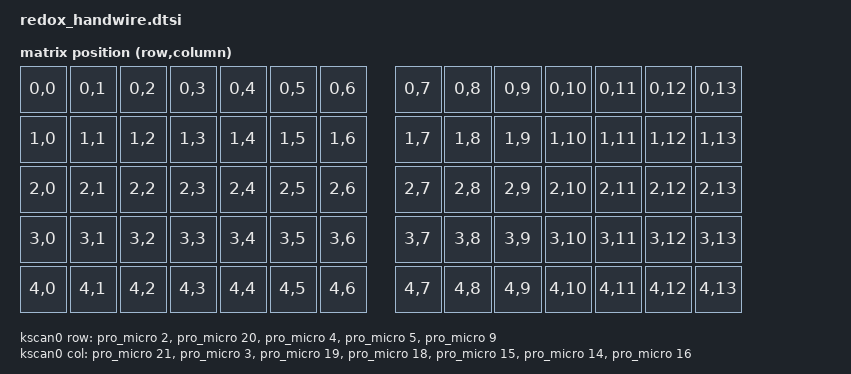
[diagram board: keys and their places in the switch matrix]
#include <dt-bindings/zmk/matrix_transform.h>
#include <physical_layouts.dtsi>

/ {
    chosen {
        zmk,kscan = &kscan0;
        zmk,physical-layout = &default_layout;
    };

    /*
     * 5 rows x 7 columns per half.
     * The right half's columns are auto-offset by 7 (the central's column
     * count), so the transform is 14 columns wide: left = cols 0-6,
     * right = cols 7-13. Every position is a real key (35 per half).
     */
    default_transform: keymap_transform_0 {
        compatible = "zmk,matrix-transform";
        columns = <14>;
        rows = <5>;
        map = <
RC(0,0) RC(0,1) RC(0,2) RC(0,3) RC(0,4) RC(0,5) RC(0,6)   RC(0,7) RC(0,8) RC(0,9) RC(0,10) RC(0,11) RC(0,12) RC(0,13)
RC(1,0) RC(1,1) RC(1,2) RC(1,3) RC(1,4) RC(1,5) RC(1,6)   RC(1,7) RC(1,8) RC(1,9) RC(1,10) RC(1,11) RC(1,12) RC(1,13)
RC(2,0) RC(2,1) RC(2,2) RC(2,3) RC(2,4) RC(2,5) RC(2,6)   RC(2,7) RC(2,8) RC(2,9) RC(2,10) RC(2,11) RC(2,12) RC(2,13)
RC(3,0) RC(3,1) RC(3,2) RC(3,3) RC(3,4) RC(3,5) RC(3,6)   RC(3,7) RC(3,8) RC(3,9) RC(3,10) RC(3,11) RC(3,12) RC(3,13)
RC(4,0) RC(4,1) RC(4,2) RC(4,3) RC(4,4) RC(4,5) RC(4,6)   RC(4,7) RC(4,8) RC(4,9) RC(4,10) RC(4,11) RC(4,12) RC(4,13)
        >;
    };

    /*
     * ZMK Studio requires a zmk,physical-layout (not a bare chosen
     * zmk,matrix-transform) so its UI can render actual key positions.
     * This is a flat, unstaggered approximation of the real handwired
     * layout purely for Studio's visual grid - it doesn't need to be
     * geometrically accurate to be functional. Order matches the
     * matrix-transform map / keymap bindings order (row-major, 14 per
     * row: left cols 0-6, then right cols 7-13, with a half-unit gap
     * between the halves).
     */
    default_layout: default_layout {
        compatible = "zmk,physical-layout";
        display-name = "Default Layout";
        transform = <&default_transform>;
        kscan = <&kscan0>;
        keys
            = <&key_physical_attrs 100 100 0 0 0 0 0>,    <&key_physical_attrs 100 100 100 0 0 0 0>,    <&key_physical_attrs 100 100 200 0 0 0 0>,    <&key_physical_attrs 100 100 300 0 0 0 0>,    <&key_physical_attrs 100 100 400 0 0 0 0>,    <&key_physical_attrs 100 100 500 0 0 0 0>,    <&key_physical_attrs 100 100 600 0 0 0 0>,    <&key_physical_attrs 100 100 750 0 0 0 0>,    <&key_physical_attrs 100 100 850 0 0 0 0>,    <&key_physical_attrs 100 100 950 0 0 0 0>,    <&key_physical_attrs 100 100 1050 0 0 0 0>,    <&key_physical_attrs 100 100 1150 0 0 0 0>,    <&key_physical_attrs 100 100 1250 0 0 0 0>,    <&key_physical_attrs 100 100 1350 0 0 0 0>
            , <&key_physical_attrs 100 100 0 100 0 0 0>,  <&key_physical_attrs 100 100 100 100 0 0 0>,  <&key_physical_attrs 100 100 200 100 0 0 0>,  <&key_physical_attrs 100 100 300 100 0 0 0>,  <&key_physical_attrs 100 100 400 100 0 0 0>,  <&key_physical_attrs 100 100 500 100 0 0 0>,  <&key_physical_attrs 100 100 600 100 0 0 0>,  <&key_physical_attrs 100 100 750 100 0 0 0>,  <&key_physical_attrs 100 100 850 100 0 0 0>,  <&key_physical_attrs 100 100 950 100 0 0 0>,  <&key_physical_attrs 100 100 1050 100 0 0 0>,  <&key_physical_attrs 100 100 1150 100 0 0 0>,  <&key_physical_attrs 100 100 1250 100 0 0 0>,  <&key_physical_attrs 100 100 1350 100 0 0 0>
            , <&key_physical_attrs 100 100 0 200 0 0 0>,  <&key_physical_attrs 100 100 100 200 0 0 0>,  <&key_physical_attrs 100 100 200 200 0 0 0>,  <&key_physical_attrs 100 100 300 200 0 0 0>,  <&key_physical_attrs 100 100 400 200 0 0 0>,  <&key_physical_attrs 100 100 500 200 0 0 0>,  <&key_physical_attrs 100 100 600 200 0 0 0>,  <&key_physical_attrs 100 100 750 200 0 0 0>,  <&key_physical_attrs 100 100 850 200 0 0 0>,  <&key_physical_attrs 100 100 950 200 0 0 0>,  <&key_physical_attrs 100 100 1050 200 0 0 0>,  <&key_physical_attrs 100 100 1150 200 0 0 0>,  <&key_physical_attrs 100 100 1250 200 0 0 0>,  <&key_physical_attrs 100 100 1350 200 0 0 0>
            , <&key_physical_attrs 100 100 0 300 0 0 0>,  <&key_physical_attrs 100 100 100 300 0 0 0>,  <&key_physical_attrs 100 100 200 300 0 0 0>,  <&key_physical_attrs 100 100 300 300 0 0 0>,  <&key_physical_attrs 100 100 400 300 0 0 0>,  <&key_physical_attrs 100 100 500 300 0 0 0>,  <&key_physical_attrs 100 100 600 300 0 0 0>,  <&key_physical_attrs 100 100 750 300 0 0 0>,  <&key_physical_attrs 100 100 850 300 0 0 0>,  <&key_physical_attrs 100 100 950 300 0 0 0>,  <&key_physical_attrs 100 100 1050 300 0 0 0>,  <&key_physical_attrs 100 100 1150 300 0 0 0>,  <&key_physical_attrs 100 100 1250 300 0 0 0>,  <&key_physical_attrs 100 100 1350 300 0 0 0>
            , <&key_physical_attrs 100 100 0 400 0 0 0>,  <&key_physical_attrs 100 100 100 400 0 0 0>,  <&key_physical_attrs 100 100 200 400 0 0 0>,  <&key_physical_attrs 100 100 300 400 0 0 0>,  <&key_physical_attrs 100 100 400 400 0 0 0>,  <&key_physical_attrs 100 100 500 400 0 0 0>,  <&key_physical_attrs 100 100 600 400 0 0 0>,  <&key_physical_attrs 100 100 750 400 0 0 0>,  <&key_physical_attrs 100 100 850 400 0 0 0>,  <&key_physical_attrs 100 100 950 400 0 0 0>,  <&key_physical_attrs 100 100 1050 400 0 0 0>,  <&key_physical_attrs 100 100 1150 400 0 0 0>,  <&key_physical_attrs 100 100 1250 400 0 0 0>,  <&key_physical_attrs 100 100 1350 400 0 0 0>
            ;
    };

    kscan0: kscan {
        compatible = "zmk,kscan-gpio-matrix";
        diode-direction = "col2row";
        wakeup-source;

        row-gpios
            = <&pro_micro 2 (GPIO_ACTIVE_HIGH | GPIO_PULL_DOWN)>
            , <&pro_micro 20 (GPIO_ACTIVE_HIGH | GPIO_PULL_DOWN)>
            , <&pro_micro 4 (GPIO_ACTIVE_HIGH | GPIO_PULL_DOWN)>
            , <&pro_micro 5 (GPIO_ACTIVE_HIGH | GPIO_PULL_DOWN)>
            , <&pro_micro 9 (GPIO_ACTIVE_HIGH | GPIO_PULL_DOWN)>
            ;

        col-gpios
            = <&pro_micro 21 GPIO_ACTIVE_HIGH>
            , <&pro_micro 3 GPIO_ACTIVE_HIGH>
            , <&pro_micro 19 GPIO_ACTIVE_HIGH>
            , <&pro_micro 18 GPIO_ACTIVE_HIGH>
            , <&pro_micro 15 GPIO_ACTIVE_HIGH>
            , <&pro_micro 14 GPIO_ACTIVE_HIGH>
            , <&pro_micro 16 GPIO_ACTIVE_HIGH>
            ;
    };};
